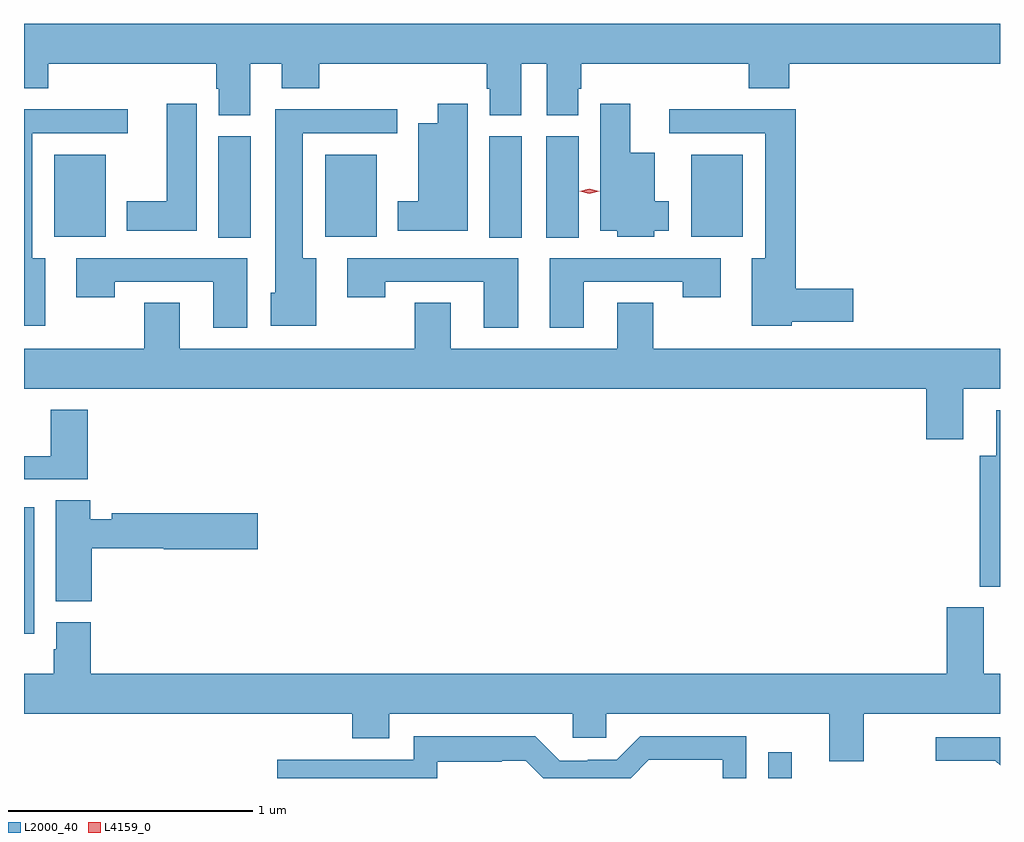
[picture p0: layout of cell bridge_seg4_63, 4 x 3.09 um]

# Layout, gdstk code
import gdstk
lib = gdstk.Library(unit=1e-6, precision=1e-09)
def R(c, l, rs):  # rectangles x0, y0, x1, y1
    for r in rs: c.add(gdstk.rectangle(r[:2], r[2:], *l))
def P(c, l, *ps):  # polygons
    for p in ps: c.add(gdstk.Polygon(p, *l))
L2000_40 = (2000, 40)
L4159_0 = (4159, 0)

bridge_seg4_63 = lib.new_cell('bridge_seg4_63')
R(bridge_seg4_63, L2000_40, [(779.881,825.861,779.977,825.967), (776.83,826.452,776.872,826.972), (777.626,828.076,777.76,828.492), (778.736,828.076,778.87,828.492), (778.97,828.076,779.104,828.492), (776.954,828.08,777.166,828.415), (778.064,828.08,778.276,828.415), (779.564,828.08,779.776,828.415)])
P(bridge_seg4_63, L2000_40, [(777.757,828.788),(777.887,828.788),(777.887,828.689),(778.04,828.689),(778.04,828.788),(778.727,828.788),(778.727,828.687),(778.739,828.687),(778.739,828.577),(778.867,828.577),(778.867,828.788),(778.973,828.788),(778.973,828.577),(779.101,828.577),(779.101,828.687),(779.114,828.687),(779.114,828.788),(779.801,828.788),(779.801,828.689),(779.966,828.689),(779.966,828.788),(780.83,828.788),(780.83,828.952),(776.83,828.952),(776.83,828.689),(776.93,828.689),(776.93,828.788),(777.617,828.788),(777.617,828.687),(777.629,828.687),(777.629,828.577),(777.757,828.577)],
  [(779.412,828.104),(779.473,828.104),(779.473,828.226),(779.416,828.226),(779.416,828.424),(779.314,828.424),(779.314,828.625),(779.192,828.625),(779.192,828.104),(779.262,828.104),(779.262,828.08),(779.412,828.08)],
  [(777.538,828.625),(777.416,828.625),(777.416,828.226),(777.251,828.226),(777.251,828.104),(777.538,828.104)],
  [(778.648,828.625),(778.526,828.625),(778.526,828.544),(778.445,828.544),(778.445,828.226),(778.361,828.226),(778.361,828.104),(778.648,828.104)],
  [(779.976,827.732),(780.229,827.732),(780.229,827.867),(779.993,827.867),(779.993,828.602),(779.475,828.602),(779.475,828.504),(779.867,828.504),(779.867,827.992),(779.813,827.992),(779.813,827.714),(779.976,827.714)],
  [(776.917,827.992),(776.863,827.992),(776.863,828.504),(777.256,828.504),(777.256,828.602),(776.83,828.602),(776.83,827.714),(776.917,827.714)],
  [(778.027,827.992),(777.973,827.992),(777.973,828.504),(778.36,828.504),(778.36,828.602),(777.86,828.602),(777.86,827.85),(777.842,827.85),(777.842,827.714),(778.027,827.714)],
  [(778.855,827.991),(778.155,827.991),(778.155,827.832),(778.311,827.832),(778.311,827.895),(778.715,827.895),(778.715,827.706),(778.855,827.706)],
  [(777.745,827.991),(777.045,827.991),(777.045,827.832),(777.201,827.832),(777.201,827.895),(777.605,827.895),(777.605,827.706),(777.745,827.706)],
  [(779.125,827.895),(779.53,827.895),(779.53,827.832),(779.686,827.832),(779.686,827.991),(778.985,827.991),(778.985,827.706),(779.125,827.706)],
  [(780.679,827.456),(780.83,827.456),(780.83,827.62),(779.409,827.62),(779.409,827.81),(779.261,827.81),(779.261,827.62),(778.579,827.62),(778.579,827.81),(778.432,827.81),(778.432,827.62),(777.469,827.62),(777.469,827.81),(777.322,827.81),(777.322,827.62),(776.83,827.62),(776.83,827.456),(780.527,827.456),(780.527,827.25),(780.679,827.25)],
  [(777.092,827.371),(776.939,827.371),(776.939,827.181),(776.83,827.181),(776.83,827.085),(777.092,827.085)],
  [(780.83,827.368),(780.815,827.368),(780.815,827.182),(780.746,827.182),(780.746,826.646),(780.83,826.646)],
  [(777.107,826.804),(777.402,826.804),(777.402,826.799),(777.787,826.799),(777.787,826.946),(777.19,826.946),(777.19,826.921),(777.102,826.921),(777.102,827),(776.96,827),(776.96,826.585),(777.107,826.585)],
  [(780.271,826.124),(780.83,826.124),(780.83,826.288),(780.763,826.288),(780.763,826.561),(780.611,826.561),(780.611,826.288),(777.104,826.288),(777.104,826.5),(776.963,826.5),(776.963,826.389),(776.951,826.389),(776.951,826.288),(776.83,826.288),(776.83,826.124),(778.175,826.124),(778.175,826.025),(778.327,826.025),(778.327,826.124),(779.079,826.124),(779.079,826.026),(779.217,826.026),(779.217,826.124),(780.131,826.124),(780.131,825.93),(780.271,825.93)],
  [(778.524,825.929),(778.787,825.929),(778.787,825.933),(778.887,825.933),(778.959,825.861),(779.316,825.861),(779.391,825.936),(779.694,825.936),(779.694,825.861),(779.79,825.861),(779.79,826.032),(779.355,826.032),(779.259,825.936),(779.141,825.936),(779.141,825.933),(779.025,825.933),(778.925,826.033),(778.428,826.033),(778.428,825.936),(777.867,825.936),(777.867,825.861),(778.524,825.861)],
  [(780.83,826.029),(780.567,826.029),(780.567,825.933),(780.81,825.933),(780.83,825.913)])
P(bridge_seg4_63, L4159_0, [(779.147,828.256),(779.107,828.266),(779.106,828.266),(779.107,828.266),(779.147,828.276),(779.187,828.266),(779.187,828.266),(779.187,828.266)])

lib.write_gds('bridge_seg4_63.gds')
